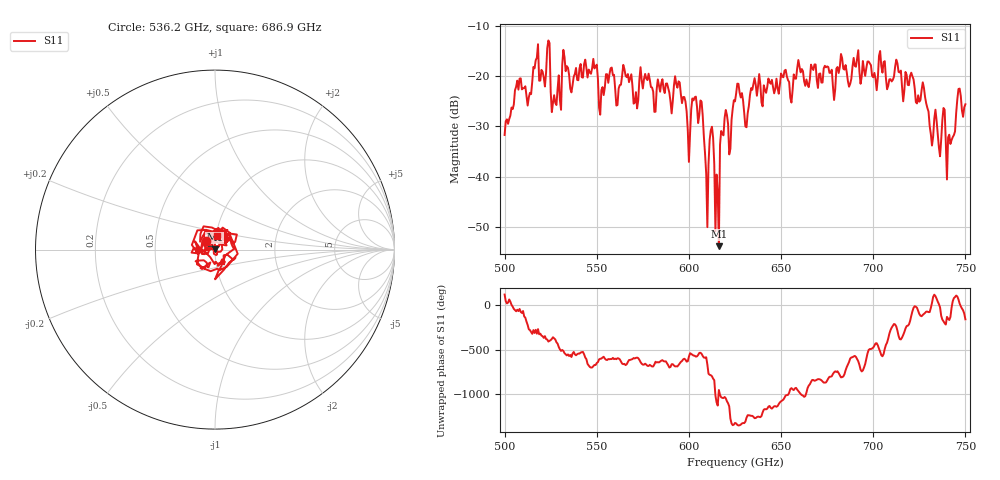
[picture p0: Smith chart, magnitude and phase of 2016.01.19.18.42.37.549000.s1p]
!Created with skrf (http://scikit-rf.org).
# GHz S RI R 50.0
!freq ReS11 ImS11
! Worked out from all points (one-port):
!   401 points, 500 GHz to 750 GHz, reference 50 ohm
!   lowest |S11| = -53.8 dB at 616.2 GHz (marker M1), VSWR 1.00, Z = 49.9 + j0.159 ohm
!   |S11| at or under -10 dB: start of sweep to end of sweep
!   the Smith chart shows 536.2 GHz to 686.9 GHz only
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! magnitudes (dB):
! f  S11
! 500 GHz  -31.7
! 507.5 GHz  -22.7
! 513.1 GHz  -24.3
! 516.9 GHz  -16.9
! 523.8 GHz  -12.9
! 526.9 GHz  -23.8
! 531.2 GHz  -17.9
! 562.5 GHz  -21.8
! 593.8 GHz  -22.3
! 600 GHz  -37.1
! 602.5 GHz  -24.8
! 606.9 GHz  -25.1
! 609.4 GHz  -39.4
! 612.5 GHz  -30.1
! 615 GHz  -39.6
! 616.2 GHz  -53.8
! 618.8 GHz  -31.8
! 622.5 GHz  -34.5
! 625 GHz  -25.0
! 631.2 GHz  -30.2
! 635 GHz  -21.6
! 656.2 GHz  -22.8
! 660 GHz  -18.1
! 687.5 GHz  -21.5
! 718.8 GHz  -21.8
! 740.6 GHz  -32.2
! 746.2 GHz  -22.6
! 750 GHz  -25.6
